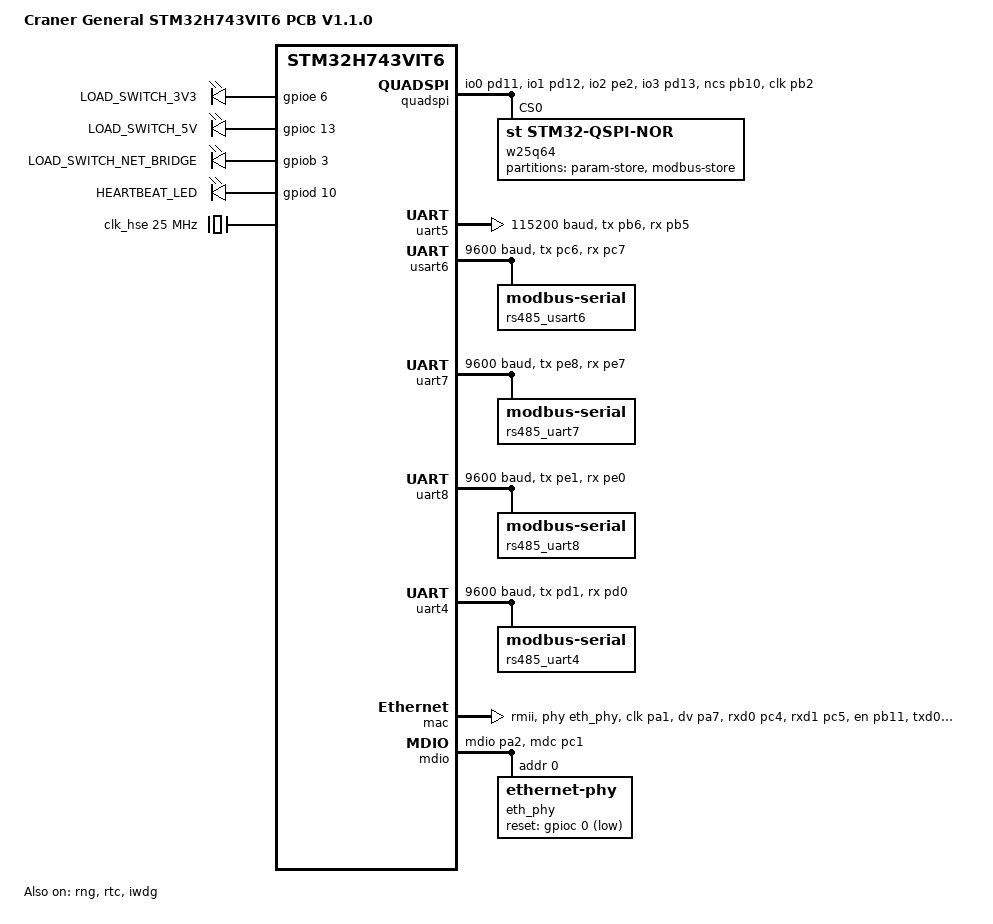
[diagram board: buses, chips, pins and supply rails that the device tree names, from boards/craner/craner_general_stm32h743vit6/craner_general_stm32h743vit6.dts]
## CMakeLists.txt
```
cmake_minimum_required(VERSION 3.20.0)

list(APPEND BOARD_ROOT ${CMAKE_CURRENT_SOURCE_DIR})

# Make module defaults effective while allowing the product's EXTRA_CONF_FILE
# to provide board/product-specific overrides (such as Broker credentials).
file(GLOB module_conf_files
	CONFIGURE_DEPENDS
	"${CMAKE_CURRENT_SOURCE_DIR}/module/*/*.conf"
)

set(CONF_FILE
	${CMAKE_CURRENT_SOURCE_DIR}/prj.conf
	${module_conf_files}
)

find_package(Zephyr REQUIRED HINTS $ENV{ZEPHYR_BASE})
project(craner_sensor_hub)

add_subdirectory(module/system_health_service)
add_subdirectory(module/network_manager_service)
add_subdirectory(module/time_manager_service)
add_subdirectory(module/ota_manager_service)
add_subdirectory(module/device_param_server)
add_subdirectory(module/device_identity_service)
add_subdirectory(module/fault_dump_service)
add_subdirectory(module/modbus_data_model)
add_subdirectory(module/modbus_tcp_server)
add_subdirectory(module/shell_mqtt_service)
add_subdirectory(module/imu_sample_service)
add_subdirectory(module/encoder_sample_service)
add_subdirectory(app/modbus_tcp)
add_subdirectory(app/power_manager)
add_subdirectory(app/system_health)
add_subdirectory(app/luffing_imu_app)
add_subdirectory(app/encoder_app)
add_subdirectory(app/anemometer_load_app)
add_subdirectory(app/log_manage_app)
add_subdirectory(app/sensor_manage_app)

target_include_directories(app PRIVATE include src app/system_health app/sensor_manage_app)

target_sources(app PRIVATE
	src/main.c
)

target_link_libraries(app PRIVATE
	system_health_service
	network_manager_service
	time_manager_service
	ota_manager_service
	device_param_server
	device_identity_service
	fault_dump_service
	modbus_data_model
	modbus_tcp_server
	shell_mqtt_service
	imu_sample_service
	encoder_sample_service
)
```

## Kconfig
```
source "Kconfig.zephyr"

rsource "module/system_health_service/Kconfig"
rsource "module/network_manager_service/Kconfig"
rsource "module/time_manager_service/Kconfig"
rsource "module/ota_manager_service/Kconfig"
rsource "module/device_param_server/Kconfig"
rsource "module/device_identity_service/Kconfig"
rsource "module/fault_dump_service/Kconfig"
rsource "module/modbus_data_model/Kconfig"
rsource "module/modbus_tcp_server/Kconfig"
rsource "module/shell_mqtt_service/Kconfig"
rsource "module/imu_sample_service/Kconfig"
rsource "module/encoder_sample_service/Kconfig"
rsource "app/luffing_imu_app/Kconfig"
rsource "app/encoder_app/Kconfig"
rsource "app/anemometer_load_app/Kconfig"

menu "Craner Encoder Hub application"

choice TOWER_TYPE
	prompt "Tower crane type"
	default TOWER_TYPE_FLAT_TOP

config TOWER_TYPE_FLAT_TOP
	bool "Flat-top tower crane"
	help
	  Flat-top tower crane with slewing, luffing and hoisting encoders.

config TOWER_TYPE_LUFFING_JIB
	bool "Luffing-jib tower crane"
	select WIT_IMU_MODBUS
	help
	  Luffing-jib tower crane with the luffing encoder replaced by a
	  WIT Modbus RTU IMU.

endchoice

config ENABLE_LOAD_ADC_CHANNEL
	bool "Enable load ADC channel application"
	default n
	help
	  Enable product-level load ADC channel sampling when the load ADC
	  channel is available. Current code uses this symbol to publish
	  the load ADC capability bit.

config MODBUS_REGISTER_LAYOUT_V2_COMPAT
	bool "Use Modbus register layout v2 compatibility"
	default n
	help
	  Move the system information block behind the data block to keep
	  the legacy v2 register address layout. Product 46 enables this
	  option, while other products keep the default v3 layout.

endmenu
```

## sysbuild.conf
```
# Build MCUboot together with the application.
SB_CONFIG_BOOTLOADER_MCUBOOT=y

# Standard MCUboot OTA layout: boot from slot0, download to slot1, then swap
# slot0 and slot1 through scratch_partition on reboot.
SB_CONFIG_MCUBOOT_MODE_SWAP_SCRATCH=y

# Use Zephyr/MCUboot default signing configuration: RSA-2048 and the
# MCUboot-provided root-rsa-2048.pem key.
```

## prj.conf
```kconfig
# Project-wide Zephyr configuration.
CONFIG_DEVICE_IDENTITY_DEFAULT_COMPANY="craner"
CONFIG_DEVICE_IDENTITY_DEFAULT_MODEL="shub"

# Basic platform and console.
CONFIG_PRINTK=y
CONFIG_SERIAL=y
CONFIG_CONSOLE=y
CONFIG_UART_CONSOLE=y
CONFIG_STDOUT_CONSOLE=y
CONFIG_UART_INTERRUPT_DRIVEN=y
CONFIG_UART_LINE_CTRL=n
CONFIG_GPIO=y
CONFIG_HWINFO=y
CONFIG_REBOOT=y
CONFIG_BOOT_BANNER=n

# Watchdog.
CONFIG_WATCHDOG=y
CONFIG_WDT_DISABLE_AT_BOOT=n

# Flash, settings, images, and persistence.
CONFIG_FLASH=y
CONFIG_FLASH_MAP=y
CONFIG_STREAM_FLASH=y
CONFIG_SETTINGS=y
CONFIG_ZMS=y
CONFIG_SETTINGS_ZMS=y
CONFIG_SETTINGS_ZMS_FORCE_MOUNT=y
CONFIG_IMG_MANAGER=y
CONFIG_MCUBOOT_IMG_MANAGER=y
CONFIG_MCUBOOT_GENERATE_CONFIRMED_IMAGE=y

# Shell.
CONFIG_SHELL=y
CONFIG_SHELL_BACKEND_SERIAL=y
CONFIG_SHELL_BACKEND_TELNET=y
CONFIG_SHELL_VT100_COMMANDS=y
CONFIG_SHELL_VT100_COLORS=y
CONFIG_SHELL_STACK_SIZE=4096

CONFIG_SHELL_PROMPT_UART="shub:~$ "
CONFIG_SHELL_PROMPT_TELNET="shub:~$ "

# MQTT Shell backend.
CONFIG_SHELL_BACKEND_MQTT=y
CONFIG_SHELL_MQTT_SERVER_ADDR="mqtt.craner.hk"
CONFIG_SHELL_MQTT_SERVER_PORT=1883
CONFIG_SHELL_MQTT_SERVER_USERNAME="hkcrctest"
CONFIG_SHELL_MQTT_SERVER_PASSWORD="crcHK3130"
# Keep MQTT Shell as a command transport only; do not route LOG_* records to it.
CONFIG_SHELL_MQTT_INIT_LOG_LEVEL_NONE=y
# Logging.
CONFIG_LOG=y
CONFIG_LOG_RUNTIME_FILTERING=y
CONFIG_LOG_RUNTIME_DEFAULT_LEVEL=3
CONFIG_LOG_CMDS=y
CONFIG_LOG_DEFAULT_LEVEL=3
CONFIG_LOG_MAX_LEVEL=4
CONFIG_LOG_RATELIMIT=y
CONFIG_LOG_RATELIMIT_INTERVAL_MS=10000
CONFIG_LOG_BACKEND_UART=n
CONFIG_SHELL_LOG_BACKEND=y
CONFIG_SHELL_BACKEND_SERIAL_LOG_LEVEL_INF=y
CONFIG_SHELL_TELNET_INIT_LOG_LEVEL_INF=y
CONFIG_LOG_MODE_DEFERRED=y
CONFIG_LOG_BUFFER_SIZE=8192
CONFIG_LOG_PROCESS_THREAD_STACK_SIZE=4096
CONFIG_LOG_TIMESTAMP_USE_REALTIME=y
CONFIG_LOG_OUTPUT_FORMAT_CUSTOM_TIMESTAMP=y

# System health service.
CONFIG_SYS_HEALTH_SERVICE=y
CONFIG_SYS_HEALTH_LED_INDICATOR_BACKEND=y
CONFIG_SYS_HEALTH_LED_SELF_TEST_MS=6000
CONFIG_SYS_HEALTH_LED_SELF_TEST_BLINK_MS=250
CONFIG_SYS_HEALTH_WATCHDOG_FEED_BACKEND=y
CONFIG_SYS_HEALTH_REBOOT_ACTION_BACKEND=y
CONFIG_SYS_HEALTH_STACK_USAGE_CHECK=y
CONFIG_SYS_HEALTH_ICMP_PROBE=y
CONFIG_SYS_HEALTH_ICMP_PROBE_EVENT_ID=2
CONFIG_SYS_HEALTH_ICMP_PROBE_TARGET_GATEWAY=y
CONFIG_SYS_HEALTH_ICMP_PROBE_STARTUP_GRACE_MS=15000
CONFIG_SYS_HEALTH_ICMP_PROBE_PERIOD_MS=2000
CONFIG_SYS_HEALTH_ICMP_PROBE_TIMEOUT_MS=1000
CONFIG_SYS_HEALTH_ICMP_PROBE_MAX_CONSECUTIVE_FAILURES=3
CONFIG_SYS_HEALTH_SCHEDULED_REBOOT=y

# Diagnostics.
CONFIG_DEBUG_COREDUMP=y
CONFIG_DEBUG_COREDUMP_BACKEND_FLASH_PARTITION=y
CONFIG_DEBUG_COREDUMP_SHELL=y
CONFIG_DEBUG_COREDUMP_MEMORY_DUMP_THREADS=y
CONFIG_DEBUG_COREDUMP_THREAD_STACK_TOP=y
CONFIG_DEBUG_COREDUMP_THREAD_STACK_TOP_LIMIT_FOR_CURRENT=2048
CONFIG_DEBUG_COREDUMP_THREAD_STACK_TOP_LIMIT=1024
CONFIG_DEBUG_COREDUMP_FLASH_CHUNK_SIZE=64
CONFIG_FAULT_DUMP_SERVICE=y
CONFIG_FAULT_DUMP_SERVICE_FATAL_RECORD=y
CONFIG_FAULT_DUMP_SERVICE_FATAL_HANDLER=y
CONFIG_FAULT_DUMP_SERVICE_RESET_REASON=y
CONFIG_FAULT_DUMP_SERVICE_RESET_REASON_STM32H7XX=y
CONFIG_FAULT_DUMP_SERVICE_NATIVE_COREDUMP=y
CONFIG_FAULT_DUMP_SERVICE_NATIVE_COREDUMP_EXPORT=y
CONFIG_FAULT_DUMP_SERVICE_EXPORT_CHUNK_BYTES=128
CONFIG_FAULT_DUMP_SERVICE_SHELL=y
CONFIG_FAULT_DUMP_SERVICE_REMINDER=y

# Management encoding and OTA transport.
CONFIG_ZCBOR=y
CONFIG_MCUMGR=y
CONFIG_MCUMGR_GRP_IMG=y
CONFIG_MCUMGR_GRP_IMG_VERBOSE_ERR=y
CONFIG_MCUMGR_GRP_OS=y
CONFIG_MCUMGR_TRANSPORT_UDP=y
CONFIG_MCUMGR_TRANSPORT_UDP_IPV4=y
CONFIG_MCUMGR_TRANSPORT_UDP_IPV6=n
CONFIG_MCUMGR_TRANSPORT_UDP_PORT=1337
CONFIG_MCUMGR_TRANSPORT_UDP_MTU=1500

# OTA manager service.
CONFIG_OTA_MANAGER_SERVICE=y
CONFIG_OTA_MANAGER_SERVICE_TEST_TIMEOUT_S=3600

# Storage and identity services.
CONFIG_DEVICE_PARAM_SERVER=y
CONFIG_DEVICE_IDENTITY_USE_PARAM_SERVER=y
CONFIG_DEVICE_PARAM_SERVER_MAX_PARAMS=16
CONFIG_DEVICE_PARAM_SERVER_MAX_VALUE_LEN=96
CONFIG_DEVICE_IDENTITY_SERVICE=y
CONFIG_DEVICE_IDENTITY_APPLY_HOSTNAME=y
CONFIG_DEVICE_IDENTITY_APPLY_ETHERNET_MAC=y
CONFIG_DEVICE_IDENTITY_SHELL=y

# Real-time clock and battery-backed RAM
CONFIG_RTC=y
CONFIG_RTC_STM32=y
CONFIG_BBRAM=y
CONFIG_BBRAM_STM32=y

# Time manager service.
CONFIG_TIME_MANAGER_SERVICE=y
CONFIG_TIME_SYNC_ZEPHYR_REALTIME=y
CONFIG_TIME_SOURCE_NTP=y
CONFIG_TIME_NTP_QUERY_TIMEOUT_MS=5000
CONFIG_TIME_SOURCE_NTP_PERIODIC_SYNC=n
CONFIG_TIME_SOURCE_RTC=y
CONFIG_TIME_RTC_BACKEND_INSIDE_RTC=y
CONFIG_TIME_RTC_WRITE_ON_NTP_SYNC=y
CONFIG_TIME_RTC_TRUST_STORE=y
CONFIG_TIME_RTC_MIN_VALID_UNIX_TIME=1767225600
CONFIG_TIME_LOCAL_FORMAT=y

# Network protocol stack.
CONFIG_NETWORKING=y
CONFIG_NET_L2_ETHERNET=y
CONFIG_ETH_STM32_HAL=y
CONFIG_PHY_GENERIC_MII=y
CONFIG_NET_IPV4=y
CONFIG_NET_IPV6=n
CONFIG_NET_ARP=y
CONFIG_NET_UDP=y
CONFIG_NET_TCP=y
CONFIG_NET_SOCKETS=y
CONFIG_NET_DHCPV4=y
CONFIG_DNS_RESOLVER=y
CONFIG_DNS_SERVER_IP_ADDRESSES=n
CONFIG_NET_HOSTNAME_ENABLE=y
CONFIG_NET_HOSTNAME_DYNAMIC=y
CONFIG_NET_HOSTNAME_MAX_LEN=63
CONFIG_NET_MGMT=y
CONFIG_NET_MGMT_EVENT=y
CONFIG_NET_SHELL=y
CONFIG_NET_STATISTICS=y
CONFIG_NET_STATISTICS_ETHERNET=y
CONFIG_NET_BUF_POOL_USAGE=y
CONFIG_ENTROPY_GENERATOR=y

# Bound DNS/TCP failure time during weak-network reconnect attempts.
CONFIG_NET_SOCKETS_CONNECT_TIMEOUT=5000
CONFIG_NET_SOCKETS_DNS_TIMEOUT=5000
CONFIG_NET_SOCKETS_DNS_BACKOFF_INTERVAL=2000

# Network buffers, contexts, and thread stacks.
CONFIG_NET_BUF=y
CONFIG_NET_PKT_RX_COUNT=48
CONFIG_NET_PKT_TX_COUNT=32
CONFIG_NET_BUF_RX_COUNT=96
CONFIG_NET_BUF_TX_COUNT=64
CONFIG_NET_BUF_DATA_SIZE=1536
CONFIG_NET_MAX_CONTEXTS=24
CONFIG_NET_MAX_CONN=24
CONFIG_ZVFS_POLL_MAX=16
CONFIG_SYSTEM_WORKQUEUE_STACK_SIZE=4096
CONFIG_NET_MGMT_EVENT_STACK_SIZE=4096
CONFIG_NET_TX_STACK_SIZE=6144
CONFIG_NET_RX_STACK_SIZE=6144
CONFIG_NET_TCP_WORKQ_STACK_SIZE=4096
CONFIG_ETH_STM32_HAL_RX_THREAD_STACK_SIZE=3072
CONFIG_MAIN_STACK_SIZE=2048

# Network address configuration backend.
CONFIG_NET_CONFIG_SETTINGS=y
CONFIG_NET_CONFIG_AUTO_INIT=n
CONFIG_NET_CONFIG_INIT_TIMEOUT=30

# Time hardware and protocol dependencies.
CONFIG_SNTP=y
CONFIG_TIME_NTP_SERVER="pool.ntp.org"
CONFIG_TIME_NTP_FALLBACK_SERVER_1="ntp.aliyun.com"
CONFIG_TIME_NTP_FALLBACK_SERVER_2="cn.pool.ntp.org"
CONFIG_TIME_NTP_FALLBACK_SERVER_3="hk.pool.ntp.org"
CONFIG_TIME_LOCAL_TIMEZONE_OFFSET_MINUTES=480

# Network manager service.
CONFIG_NETWORK_MANAGER_SERVICE=y
CONFIG_NETWORK_MANAGER_SERVICE_EVENT_CALLBACKS=y
CONFIG_NETWORK_MANAGER_SERVICE_STATS=y
CONFIG_NETWORK_MANAGER_STARTUP_DELAY_MS=3000
CONFIG_NETWORK_MANAGER_IF_UP_RETRY_PERIOD_MS=1000
CONFIG_NETWORK_MANAGER_IF_UP_MAX_RETRIES=0
CONFIG_NETWORK_DHCP_RESCUE_TIMEOUT_MS=60000

# Modbus core and RAW serial bridge.
CONFIG_MODBUS=y
CONFIG_MODBUS_LOG_LEVEL_INF=y
CONFIG_MODBUS_ROLE_CLIENT_SERVER=y
CONFIG_MODBUS_NONCOMPLIANT_SERIAL_MODE=y
CONFIG_MODBUS_RAW_ADU=y
CONFIG_MODBUS_NUMOF_RAW_ADU=1
CONFIG_CRC=y
CONFIG_POSIX_API=y

# Modbus data model and TCP services.
CONFIG_MODBUS_DATA_MODEL=y
CONFIG_MODBUS_DATA_MODEL_STORE=y
CONFIG_MODBUS_DATA_MODEL_STORE_FLASH=y
CONFIG_MODBUS_DATA_MODEL_STORE_DEFAULT_SAVE_DELAY_MS=3000
CONFIG_MODBUS_DATA_MODEL_SHELL=y
CONFIG_MODBUS_TCP_SERVER=y
CONFIG_MODBUS_TCP_MAX_CLIENTS=4
CONFIG_MODBUS_TCP_SERVER_PORT=502
CONFIG_MODBUS_TCP_SERVER_RAW_IFACE_NAME="RAW_0"
CONFIG_MODBUS_TCP_CLIENT_IDLE_TIMEOUT_MS=3000
CONFIG_MODBUS_TCP_RECV_TIMEOUT_MS=1000
CONFIG_MODBUS_TCP_SEND_TIMEOUT_MS=1000
CONFIG_MODBUS_TCP_RAW_RESPONSE_TIMEOUT_MS=1000
CONFIG_MODBUS_TCP_CLIENT_MAX_CONSECUTIVE_ERRORS=3
CONFIG_MODBUS_TCP_POLL_TIMEOUT_MS=1000
CONFIG_MODBUS_TCP_SERVER_STATS=y
CONFIG_MODBUS_TCP_SERVER_SHELL=y
CONFIG_MODBUS_TCP_SERVER_LOG_LEVEL_INF=y

# Sensor sampling services.
CONFIG_ENCODER_SAMPLE_SERVICE=y
CONFIG_IMU_SAMPLE_SERVICE=y
CONFIG_ANEMOMETER_THREAD_STACK_SIZE=3072
```

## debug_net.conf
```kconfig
# Optional network diagnostics overlay.
#
# Usage:
# west build -b craner_general_stm32h743vit6 . -d build/debug_net -- -DEXTRA_CONF_FILE=debug_net.conf

CONFIG_NET_SHELL=y
CONFIG_NET_STATISTICS=y
CONFIG_NET_STATISTICS_ETHERNET=y

CONFIG_NET_MAX_CONN=16
CONFIG_NET_MAX_CONTEXTS=16
CONFIG_NET_PKT_RX_COUNT=32
CONFIG_NET_PKT_TX_COUNT=32
CONFIG_NET_BUF_RX_COUNT=64
CONFIG_NET_BUF_TX_COUNT=64

CONFIG_NET_TCP_WORKQ_STACK_SIZE=2048
CONFIG_NET_SOCKETS_SERVICE_STACK_SIZE=2048

# Enable these only when you need verbose TCP logs.
CONFIG_NET_LOG=y
CONFIG_NET_TCP_LOG_LEVEL_DBG=y
CONFIG_NET_CONTEXT_LOG_LEVEL_DBG=y
```

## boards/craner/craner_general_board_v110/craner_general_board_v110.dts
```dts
/*
 * SPDX-License-Identifier: Apache-2.0
 */

/dts-v1/;
#include <st/h7/stm32h743Xi.dtsi>
#include <st/h7/stm32h743vitx-pinctrl.dtsi>

/ {
	model = "Craner General Board V1.10";
	compatible = "craner,craner-general-board-v110";

	chosen {
		zephyr,sram = &sram0;
		zephyr,flash = &flash0;
		zephyr,console = &uart5;
		zephyr,shell-uart = &uart5;
	};
};

&clk_hse {
	clock-frequency = <DT_FREQ_M(25)>;
	status = "okay";
};

&pll {
	div-m = <5>;
	mul-n = <96>;
	div-p = <2>;
	div-q = <10>;
	div-r = <2>;
	clocks = <&clk_hse>;
	status = "okay";
};

&rcc {
	clocks = <&pll>;
	clock-frequency = <DT_FREQ_M(240)>;
	d1cpre = <1>;
	hpre = <2>;
	d1ppre = <1>;
	d2ppre1 = <1>;
	d2ppre2 = <1>;
	d3ppre = <1>;
};

&pwr {
	power-supply = "ldo";
};

&uart5 {
	pinctrl-0 = <&uart5_tx_pb6 &uart5_rx_pb5>;
	pinctrl-names = "default";
	current-speed = <115200>;
	status = "okay";
};

&usart6 {
	pinctrl-0 = <&usart6_tx_pc6 &usart6_rx_pc7>;
	pinctrl-names = "default";
	current-speed = <115200>;
	status = "okay";

	modbus0 {
		compatible = "zephyr,modbus-serial";
		status = "okay";
	};
};
```

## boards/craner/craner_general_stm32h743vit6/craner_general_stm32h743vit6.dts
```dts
/*
 * SPDX-License-Identifier: Apache-2.0
 */

/dts-v1/;
#include <st/h7/stm32h743Xi.dtsi>
#include <st/h7/stm32h743vitx-pinctrl.dtsi>
#include <zephyr/dt-bindings/gpio/gpio.h>

/ {
	model = "Craner General STM32H743VIT6 PCB V1.1.0";
	compatible = "craner,craner-general-stm32h743vit6";

	chosen {
		zephyr,sram = &sram0;
		zephyr,flash = &flash0;
		zephyr,code-partition = &slot0_partition;
		zephyr,settings-partition = &param_store_partition;
		zephyr,console = &uart5;
		zephyr,shell-uart = &uart5;
	};

	aliases {
		load-switch-3v3 = &load_switch_3v3;
		load-switch-5v = &load_switch_5v;
		load-switch-net-bridge = &load_switch_net_bridge;
		rs485-usart6 = &rs485_usart6;
		rs485-uart7 = &rs485_uart7;
		rs485-uart8 = &rs485_uart8;
		rs485-uart4 = &rs485_uart4;
		heartbeat-led = &heartbeat_led;
		watchdog0 = &iwdg;
	};

	load_switches {
		compatible = "gpio-leds";

		load_switch_3v3: load-switch-3v3 {
			gpios = <&gpioe 6 GPIO_ACTIVE_HIGH>;
			label = "LOAD_SWITCH_3V3";
		};

		load_switch_5v: load-switch-5v {
			gpios = <&gpioc 13 GPIO_ACTIVE_HIGH>;
			label = "LOAD_SWITCH_5V";
		};

		load_switch_net_bridge: load-switch-net-bridge {
			gpios = <&gpiob 3 GPIO_ACTIVE_HIGH>;
			label = "LOAD_SWITCH_NET_BRIDGE";
		};
	};

	leds {
		compatible = "gpio-leds";

		heartbeat_led: heartbeat_led {
			gpios = <&gpiod 10 GPIO_ACTIVE_HIGH>;
			label = "HEARTBEAT_LED";
		};
	};
};

&flash0 {
	partitions {
		compatible = "fixed-partitions";
		#address-cells = <1>;
		#size-cells = <1>;

		boot_partition: partition@0 {
			label = "mcuboot";
			reg = <0x00000000 0x00020000>;
		};

		slot0_partition: partition@20000 {
			label = "image-0";
			reg = <0x00020000 0x000c0000>;
		};

		slot1_partition: partition@e0000 {
			label = "image-1";
			reg = <0x000e0000 0x000c0000>;
		};

		scratch_partition: partition@1a0000 {
			label = "image-scratch";
			reg = <0x001a0000 0x00020000>;
		};

		coredump_partition: partition@1c0000 {
			label = "coredump-partition";
			reg = <0x001c0000 0x00020000>;
		};

		app_storage_partition: partition@1e0000 {
			label = "app-storage";
			reg = <0x001e0000 0x00020000>;
		};
	};
};

&quadspi {
	pinctrl-0 = <&quadspi_bk1_io0_pd11
		     &quadspi_bk1_io1_pd12
		     &quadspi_bk1_io2_pe2
		     &quadspi_bk1_io3_pd13
		     &quadspi_bk1_ncs_pb10
		     &quadspi_clk_pb2>;
	pinctrl-names = "default";
	status = "okay";

	w25q64: qspi-nor-flash@0 {
		compatible = "st,stm32-qspi-nor";
		reg = <0>;
		size = <DT_SIZE_M(64)>;
		qspi-max-frequency = <40000000>;
		spi-bus-width = <4>;
		writeoc = "PP_1_1_4";
		status = "okay";

		partitions {
			compatible = "fixed-partitions";
			#address-cells = <1>;
			#size-cells = <1>;

			storage_partition: param_store_partition: partition@0 {
				label = "param-store";
				reg = <0x00000000 0x00020000>;
			};

			modbus_store_partition: partition@20000 {
				label = "modbus-store";
				reg = <0x00020000 0x00020000>;
			};
		};
	};
};

&clk_hse {
	clock-frequency = <DT_FREQ_M(25)>;
	status = "okay";
};

&clk_hsi48 {
	status = "okay";
};

&clk_lse {
	status = "okay";
};

&pll {
	div-m = <5>;
	mul-n = <96>;
	div-p = <2>;
	div-q = <10>;
	div-r = <2>;
	clocks = <&clk_hse>;
	status = "okay";
};

&rcc {
	clocks = <&pll>;
	clock-frequency = <DT_FREQ_M(240)>;
	d1cpre = <1>;
	hpre = <2>;
	d1ppre = <1>;
	d2ppre1 = <1>;
	d2ppre2 = <1>;
	d3ppre = <1>;
};

&pwr {
	power-supply = "ldo";
};

&rng {
	status = "okay";
};

&rtc {
	clocks = <&rcc STM32_CLOCK(APB4, 16)>,
		 <&rcc STM32_SRC_LSE RTC_SEL(1)>;
	status = "okay";
};

&bbram {
	status = "okay";
};

&iwdg {
	status = "okay";
};

&uart5 {
	pinctrl-0 = <&uart5_tx_pb6 &uart5_rx_pb5>;
	pinctrl-names = "default";
	current-speed = <115200>;
	status = "okay";
};

&usart6 {
	pinctrl-0 = <&usart6_tx_pc6 &usart6_rx_pc7>;
	pinctrl-names = "default";
	current-speed = <9600>;
	status = "okay";

	rs485_usart6: rs485-usart6 {
		compatible = "zephyr,modbus-serial";
		status = "okay";
	};
};

&uart7 {
	pinctrl-0 = <&uart7_tx_pe8 &uart7_rx_pe7>;
	pinctrl-names = "default";
	current-speed = <9600>;
	status = "okay";

	rs485_uart7: rs485-uart7 {
		compatible = "zephyr,modbus-serial";
		status = "okay";
	};
};

&uart8 {
	pinctrl-0 = <&uart8_tx_pe1 &uart8_rx_pe0>;
	pinctrl-names = "default";
	current-speed = <9600>;
	status = "okay";

	rs485_uart8: rs485-uart8 {
		compatible = "zephyr,modbus-serial";
		status = "okay";
	};
};

&uart4 {
	pinctrl-0 = <&uart4_tx_pd1 &uart4_rx_pd0>;
	pinctrl-names = "default";
	current-speed = <9600>;
	status = "okay";

	rs485_uart4: rs485-uart4 {
		compatible = "zephyr,modbus-serial";
		status = "okay";
	};
};

&mac {
	pinctrl-0 = <&eth_ref_clk_pa1
		     &eth_crs_dv_pa7
		     &eth_rxd0_pc4
		     &eth_rxd1_pc5
		     &eth_tx_en_pb11
		     &eth_txd0_pb12
		     &eth_txd1_pb13>;
	pinctrl-names = "default";
	local-mac-address = [02 00 00 00 01 32];
	phy-connection-type = "rmii";
	phy-handle = <&eth_phy>;
	status = "okay";
};

&mdio {
	pinctrl-0 = <&eth_mdio_pa2 &eth_mdc_pc1>;
	pinctrl-names = "default";
	status = "okay";

	eth_phy: ethernet-phy@0 {
		compatible = "ethernet-phy";
		reg = <0x00>;
		reset-gpios = <&gpioc 0 GPIO_ACTIVE_LOW>;
		reset-assert-duration-us = <10000>;
		reset-deassertion-timeout-ms = <100>;
	};
};
```

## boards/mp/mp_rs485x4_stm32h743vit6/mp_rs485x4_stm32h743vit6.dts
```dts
/*
 * SPDX-License-Identifier: Apache-2.0
 */

/dts-v1/;
#include <st/h7/stm32h743Xi.dtsi>
#include <st/h7/stm32h743vitx-pinctrl.dtsi>
#include <zephyr/dt-bindings/gpio/gpio.h>

/ {
	model = "MP RS485x4 STM32H743VIT6 PCB V1.2.0";
	compatible = "mp,mp-rs485x4-stm32h743vit6";

	chosen {
		zephyr,sram = &sram0;
		zephyr,flash = &flash0;
		zephyr,code-partition = &slot0_partition;
		zephyr,console = &usart1;
		zephyr,shell-uart = &usart1;
	};

	aliases {
		load-switch-3v3 = &load_switch_3v3;
		load-switch-5v = &load_switch_5v;
		load-switch-net-bridge = &load_switch_net_bridge;
		rs485-usart6 = &rs485_usart6;
		rs485-uart7 = &rs485_uart7;
		rs485-uart8 = &rs485_uart8;
		rs485-uart4 = &rs485_uart4;
		heartbeat-led = &heartbeat_led;
		watchdog0 = &iwdg;
	};

	load_switches {
		compatible = "gpio-leds";

		load_switch_3v3: load-switch-3v3 {
			gpios = <&gpioe 6 GPIO_ACTIVE_HIGH>;
			label = "LOAD_SWITCH_3V3";
		};

		load_switch_5v: load-switch-5v {
			gpios = <&gpioc 13 GPIO_ACTIVE_HIGH>;
			label = "LOAD_SWITCH_5V";
		};

		load_switch_net_bridge: load-switch-net-bridge {
			gpios = <&gpiob 3 GPIO_ACTIVE_HIGH>;
			label = "LOAD_SWITCH_NET_BRIDGE";
		};
	};

	leds {
		compatible = "gpio-leds";

		heartbeat_led: heartbeat_led {
			gpios = <&gpiod 10 GPIO_ACTIVE_HIGH>;
			label = "HEARTBEAT_LED";
		};
	};
};

&flash0 {
	partitions {
		compatible = "fixed-partitions";
		#address-cells = <1>;
		#size-cells = <1>;

		boot_partition: partition@0 {
			label = "mcuboot";
			reg = <0x00000000 0x00020000>;
		};

		slot0_partition: partition@20000 {
			label = "image-0";
			reg = <0x00020000 0x000c0000>;
		};

		slot1_partition: partition@e0000 {
			label = "image-1";
			reg = <0x000e0000 0x000c0000>;
		};

		scratch_partition: partition@1a0000 {
			label = "image-scratch";
			reg = <0x001a0000 0x00020000>;
		};

		app_storage_partition: partition@1c0000 {
			label = "app-storage";
			reg = <0x001c0000 0x00040000>;
		};
	};
};

&clk_hse {
	clock-frequency = <DT_FREQ_M(25)>;
	status = "okay";
};

&clk_hsi48 {
	status = "okay";
};

&pll {
	div-m = <5>;
	mul-n = <96>;
	div-p = <2>;
	div-q = <10>;
	div-r = <2>;
	clocks = <&clk_hse>;
	status = "okay";
};

&rcc {
	clocks = <&pll>;
	clock-frequency = <DT_FREQ_M(240)>;
	d1cpre = <1>;
	hpre = <2>;
	d1ppre = <1>;
	d2ppre1 = <1>;
	d2ppre2 = <1>;
	d3ppre = <1>;
};

&pwr {
	power-supply = "ldo";
};

&rng {
	status = "okay";
};

&iwdg {
	status = "okay";
};

&usart1 {
	pinctrl-0 = <&usart1_tx_pa9 &usart1_rx_pa10>;
	pinctrl-names = "default";
	current-speed = <115200>;
	status = "okay";
};

&usart6 {
	pinctrl-0 = <&usart6_tx_pc6 &usart6_rx_pc7>;
	pinctrl-names = "default";
	current-speed = <9600>;
	status = "okay";

	rs485_usart6: rs485-usart6 {
		compatible = "zephyr,modbus-serial";
		status = "okay";
	};
};

&uart7 {
	pinctrl-0 = <&uart7_tx_pe8 &uart7_rx_pe7>;
	pinctrl-names = "default";
	current-speed = <9600>;
	status = "okay";

	rs485_uart7: rs485-uart7 {
		compatible = "zephyr,modbus-serial";
		status = "okay";
	};
};

&uart8 {
	pinctrl-0 = <&uart8_tx_pe1 &uart8_rx_pe0>;
	pinctrl-names = "default";
	current-speed = <9600>;
	status = "okay";

	rs485_uart8: rs485-uart8 {
		compatible = "zephyr,modbus-serial";
		status = "okay";
	};
};

&uart4 {
	pinctrl-0 = <&uart4_tx_pd1 &uart4_rx_pd0>;
	pinctrl-names = "default";
	current-speed = <9600>;
	status = "okay";

	rs485_uart4: rs485-uart4 {
		compatible = "zephyr,modbus-serial";
		status = "okay";
	};
};

&mac {
	pinctrl-0 = <&eth_ref_clk_pa1
		     &eth_crs_dv_pa7
		     &eth_rxd0_pc4
		     &eth_rxd1_pc5
		     &eth_tx_en_pb11
		     &eth_txd0_pb12
		     &eth_txd1_pb13>;
	pinctrl-names = "default";
	local-mac-address = [02 00 00 00 02 32];
	phy-connection-type = "rmii";
	phy-handle = <&eth_phy>;
	status = "okay";
};

&mdio {
	pinctrl-0 = <&eth_mdio_pa2 &eth_mdc_pc1>;
	pinctrl-names = "default";
	status = "okay";

	eth_phy: ethernet-phy@0 {
		compatible = "ethernet-phy";
		reg = <0x00>;
		reset-gpios = <&gpioc 0 GPIO_ACTIVE_LOW>;
		reset-assert-duration-us = <10000>;
		reset-deassertion-timeout-ms = <100>;
	};
};
```

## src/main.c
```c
#include <zephyr/kernel.h>

int main(void)
{
	while (1) {
		k_sleep(K_SECONDS(1));
	}

	return 0;
}
```

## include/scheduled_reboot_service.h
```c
#ifndef SCHEDULED_REBOOT_SERVICE_H
#define SCHEDULED_REBOOT_SERVICE_H

#include <stdbool.h>
#include <stddef.h>
#include <stdint.h>

enum scheduled_reboot_reason {
	SCHEDULED_REBOOT_REASON_NONE,
	SCHEDULED_REBOOT_REASON_UNRELIABLE_TIME_UPTIME_LIMIT,
	SCHEDULED_REBOOT_REASON_RELIABLE_TIME_DAILY_WINDOW,
};

struct scheduled_reboot_status {
	bool initialized;
	bool time_reliable;
	bool in_reliable_window;
	bool reboot_pending;
	enum scheduled_reboot_reason pending_reason;
	uint32_t last_check_uptime_ms;
	uint32_t unreliable_start_uptime_ms;
	uint32_t unreliable_elapsed_ms;
	uint32_t unreliable_limit_ms;
	uint32_t min_uptime_ms;
	int32_t timezone_offset_minutes;
	uint8_t local_hour;
	uint8_t local_minute;
	uint8_t local_window_minutes;
	int64_t unix_time_s;
	int local_year;
	int local_yday;
	int local_hour_now;
	int local_minute_now;
	int last_reliable_reboot_day_key;
	int last_error;
};

void scheduled_reboot_service_check(uint32_t now_ms);
void scheduled_reboot_service_get_status(struct scheduled_reboot_status *status);
const char *scheduled_reboot_reason_name(enum scheduled_reboot_reason reason);
int scheduled_reboot_service_format_status(char *buf, size_t len);

#endif /* SCHEDULED_REBOOT_SERVICE_H */
```

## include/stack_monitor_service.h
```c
#ifndef STACK_MONITOR_SERVICE_H
#define STACK_MONITOR_SERVICE_H

#include <stdbool.h>
#include <stddef.h>
#include <stdint.h>

#define STACK_MONITOR_THREAD_NAME_LEN 32U

struct stack_monitor_thread_info {
	char name[STACK_MONITOR_THREAD_NAME_LEN];
	size_t stack_size;
	size_t unused;
	size_t used;
	uint8_t usage_percent;
	int error;
};

struct stack_monitor_status {
	bool initialized;
	bool warning;
	uint32_t scan_count;
	uint32_t warn_count;
	uint32_t last_scan_uptime_ms;
	size_t thread_count;
	struct stack_monitor_thread_info worst_current;
	struct stack_monitor_thread_info worst_ever;
	int last_error;
};

typedef void (*stack_monitor_thread_cb_t)(
	const struct stack_monitor_thread_info *info, void *user_data);

void stack_monitor_service_scan(uint32_t now_ms, bool log_warning);
void stack_monitor_service_get_status(struct stack_monitor_status *status);
int stack_monitor_service_foreach(stack_monitor_thread_cb_t cb,
				  void *user_data);
int stack_monitor_service_format_status(char *buf, size_t len);

#endif /* STACK_MONITOR_SERVICE_H */
```

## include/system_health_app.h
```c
#ifndef SYSTEM_HEALTH_APP_H
#define SYSTEM_HEALTH_APP_H

#include <stdbool.h>
#include <stdint.h>

#include "system_health_service.h"

enum system_health_event {
	SYSTEM_HEALTH_NONE = 0,
	SYSTEM_HEALTH_SYSTEM_OFFLINE =
		SYS_HEALTH_EVENT_SYSTEM_PROTECT,
	SYSTEM_HEALTH_ETHERNET = 2,
	SYSTEM_HEALTH_READ_SLEWING_ENCODER = 100,
	SYSTEM_HEALTH_READ_LUFFING_ENCODER,
	SYSTEM_HEALTH_READ_HOISTING_ENCODER,
	SYSTEM_HEALTH_READ_ANEMOMETER,
};

static inline void system_health_update_event(enum system_health_event event)
{
	sys_health_event_report((uint16_t)event);
}

static inline void system_health_enable_event(enum system_health_event event)
{
	sys_health_event_enable((uint16_t)event);
}

static inline void system_health_disable_event(enum system_health_event event)
{
	sys_health_event_disable((uint16_t)event);
}

static inline bool system_health_is_event_offline(enum system_health_event event)
{
	return sys_health_event_is_offline((uint16_t)event);
}

#endif /* SYSTEM_HEALTH_APP_H */
```

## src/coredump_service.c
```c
#include "coredump_service.h"

#include <errno.h>
#include <stdint.h>
#include <string.h>

#include <zephyr/debug/coredump.h>
#include <zephyr/kernel.h>
#include <zephyr/sys/util.h>

static struct coredump_service_status service_status;

static int hex_nibble_to_char(uint8_t nibble, char *ch)
{
	if (ch == NULL) {
		return -EINVAL;
	}

	if (nibble < 10U) {
		*ch = (char)('0' + nibble);
		return 0;
	}

	if (nibble < 16U) {
		*ch = (char)('a' + nibble - 10U);
		return 0;
	}

	return -EINVAL;
}

int coredump_service_refresh(void)
{
	int rc;

	service_status.backend_error =
		coredump_query(COREDUMP_QUERY_GET_ERROR, NULL);

	rc = coredump_query(COREDUMP_QUERY_HAS_STORED_DUMP, NULL);
	if (rc < 0) {
		service_status.stored_dump_found = false;
		service_status.stored_dump_valid = false;
		service_status.stored_dump_size = 0U;
		service_status.verify_result = rc;
		service_status.last_error = rc;
		return rc;
	}

	service_status.stored_dump_found = (rc == 1);
	service_status.stored_dump_size = 0U;
	service_status.verify_result = 0;
	service_status.stored_dump_valid = false;

	if (service_status.stored_dump_found) {
		rc = coredump_query(COREDUMP_QUERY_GET_STORED_DUMP_SIZE, NULL);
		if (rc < 0) {
			service_status.last_error = rc;
			return rc;
		}

		service_status.stored_dump_size = (size_t)rc;

		rc = coredump_cmd(COREDUMP_CMD_VERIFY_STORED_DUMP, NULL);
		service_status.verify_result = rc;
		if (rc < 0) {
			service_status.last_error = rc;
			return rc;
		}

		service_status.stored_dump_valid = (rc == 1);
	}

	service_status.last_error = 0;
	return 0;
}

int coredump_service_init(void)
{
	int rc;

	memset(&service_status, 0, sizeof(service_status));
	service_status.initialized = true;

	rc = coredump_service_refresh();
	if (rc != 0) {
		return rc;
	}

	return 0;
}

void coredump_service_get_status(struct coredump_service_status *status)
{
	if (status == NULL) {
		return;
	}

	*status = service_status;
}

int coredump_service_clear_stored_dump(void)
{
	int rc;
	int clear_rc;

	rc = coredump_cmd(COREDUMP_CMD_ERASE_STORED_DUMP, NULL);
	if (rc != 0) {
		service_status.last_error = rc;
		return rc;
	}

	clear_rc = coredump_cmd(COREDUMP_CMD_CLEAR_ERROR, NULL);
	if (clear_rc != 0 && clear_rc != -ENOTSUP) {
		service_status.last_error = clear_rc;
		return clear_rc;
	}

	return coredump_service_refresh();
}

int coredump_service_format_report(char *buf, size_t len)
{
	struct coredump_service_status status;
	int written;
	int rc;

	if (buf == NULL || len == 0U) {
		return -EINVAL;
	}

	rc = coredump_service_refresh();
	coredump_service_get_status(&status);
	if (rc != 0) {
		return rc;
	}

	written = snprintk(buf, len,
			   "{\"type\":\"coredump\","
			   "\"found\":%s,\"valid\":%s,"
			   "\"size\":%u,\"backend_error\":%d,"
			   "\"verify_result\":%d,\"last_error\":%d,"
			   "\"uptime_ms\":%lld}",
			   status.stored_dump_found ? "true" : "false",
			   status.stored_dump_valid ? "true" : "false",
			   (uint32_t)status.stored_dump_size,
			   status.backend_error, status.verify_result,
			   status.last_error, (long long)k_uptime_get());
	if (written < 0) {
		return written;
	}

	if ((size_t)written >= len) {
		return -EMSGSIZE;
	}

	return 0;
}

int coredump_service_read_stored_dump(off_t offset, uint8_t *buf, size_t len)
{
	struct coredump_cmd_copy_arg copy = {
		.offset = offset,
		.buffer = buf,
		.length = len,
	};

	if (buf == NULL || len == 0U) {
		return -EINVAL;
	}

	return coredump_cmd(COREDUMP_CMD_COPY_STORED_DUMP, &copy);
}

int coredump_service_format_hex_line(const uint8_t *data, size_t data_len,
				     char *buf, size_t buf_len)
{
	size_t out_len = strlen("#CD:") + (data_len * 2U);
	size_t pos = 0U;
	int rc;

	if (data == NULL || buf == NULL) {
		return -EINVAL;
	}

	if (buf_len <= out_len) {
		return -EMSGSIZE;
	}

	memcpy(buf, "#CD:", strlen("#CD:"));
	pos = strlen("#CD:");

	for (size_t i = 0U; i < data_len; i++) {
		rc = hex_nibble_to_char(data[i] >> 4, &buf[pos]);
		if (rc != 0) {
			return rc;
		}
		pos++;

		rc = hex_nibble_to_char(data[i] & 0x0fU, &buf[pos]);
		if (rc != 0) {
			return rc;
		}
		pos++;
	}

	buf[pos] = '\0';
	return 0;
}
```

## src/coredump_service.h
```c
#ifndef COREDUMP_SERVICE_H_
#define COREDUMP_SERVICE_H_

#include <stdbool.h>
#include <stddef.h>
#include <stdint.h>
#include <sys/types.h>

struct coredump_service_status {
	bool initialized;
	bool stored_dump_found;
	bool stored_dump_valid;
	size_t stored_dump_size;
	int backend_error;
	int verify_result;
	int last_error;
};

int coredump_service_init(void);
void coredump_service_get_status(struct coredump_service_status *status);
int coredump_service_refresh(void);
int coredump_service_clear_stored_dump(void);
int coredump_service_format_report(char *buf, size_t len);
int coredump_service_read_stored_dump(off_t offset, uint8_t *buf, size_t len);
int coredump_service_format_hex_line(const uint8_t *data, size_t data_len,
				     char *buf, size_t buf_len);

#endif /* COREDUMP_SERVICE_H_ */
```

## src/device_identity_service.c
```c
#include "device_identity_service.h"
#ifdef CONFIG_ENABLE_DEVICE_PARAM_STORE
#include "device_param_store.h"
#endif

#include <errno.h>
#include <stdbool.h>
#include <stddef.h>
#include <string.h>

#include <zephyr/device.h>
#include <zephyr/drivers/hwinfo.h>
#include <zephyr/kernel.h>
#include <zephyr/logging/log.h>
#include <zephyr/net/ethernet.h>
#include <zephyr/net/hostname.h>
#include <zephyr/net/net_if.h>
#include <zephyr/sys/util.h>

LOG_MODULE_REGISTER(device_identity_service, CONFIG_LOG_DEFAULT_LEVEL);

#define DEVICE_IDENTITY_COMPANY "craner"
#define DEVICE_IDENTITY_DEFAULT_PROJECT "project"
#define DEVICE_IDENTITY_DEFAULT_DEVICE_TYPE "type"
#define STM32_UID_MAX_SIZE 12
#define FNV1A64_OFFSET_BASIS 0xcbf29ce484222325ULL
#define FNV1A64_PRIME 0x100000001b3ULL

static struct device_identity identity;
static bool identity_ready;

static uint64_t fnv1a64(const uint8_t *data, size_t len)
{
	uint64_t hash = FNV1A64_OFFSET_BASIS;

	for (size_t i = 0; i < len; i++) {
		hash ^= data[i];
		hash *= FNV1A64_PRIME;
	}

	return hash;
}

static void short_uid_from_hash(uint64_t hash, uint8_t short_uid[DEVICE_IDENTITY_SHORT_UID_SIZE])
{
	for (size_t i = 0; i < DEVICE_IDENTITY_SHORT_UID_SIZE; i++) {
		short_uid[i] = (uint8_t)(hash >> ((DEVICE_IDENTITY_SHORT_UID_SIZE - 1U - i) * 8U));
	}
}

static void format_hex(const uint8_t *bytes, size_t len, char *out, size_t out_len)
{
	static const char hex[] = "0123456789abcdef";

	if (out_len < (len * 2U + 1U)) {
		return;
	}

	for (size_t i = 0; i < len; i++) {
		out[i * 2U] = hex[bytes[i] >> 4];
		out[i * 2U + 1U] = hex[bytes[i] & 0x0f];
	}

	out[len * 2U] = '\0';
}

static void load_identity_text(const char *key, const char *fallback, char *buf,
			       size_t len)
{
	int rc = -ENOENT;

#ifdef CONFIG_ENABLE_DEVICE_PARAM_STORE
	rc = device_param_store_get(key, buf, len);
#endif
	if (rc != 0) {
		snprintk(buf, len, "%s", fallback);
	}
}

static int build_identity(void)
{
	uint8_t stm32_uid[STM32_UID_MAX_SIZE] = { 0 };
	ssize_t uid_len;
	uint64_t hash;

	uid_len = hwinfo_get_device_id(stm32_uid, sizeof(stm32_uid));
	if (uid_len <= 0) {
		LOG_ERR("Failed to read STM32 device UID: %d", (int)uid_len);
		return uid_len == 0 ? -ENODATA : (int)uid_len;
	}

	hash = fnv1a64(stm32_uid, (size_t)uid_len);
	short_uid_from_hash(hash, identity.short_uid);

	identity.mac[0] = 0x02;
	memcpy(&identity.mac[1], identity.short_uid, sizeof(identity.short_uid));

	format_hex(identity.short_uid, sizeof(identity.short_uid),
		   identity.short_uid_hex, sizeof(identity.short_uid_hex));
	format_hex(&identity.short_uid[DEVICE_IDENTITY_SHORT_UID_SIZE -
				       DEVICE_IDENTITY_NAME_UID_SIZE],
		   DEVICE_IDENTITY_NAME_UID_SIZE, identity.name_uid_hex,
		   sizeof(identity.name_uid_hex));

	snprintk(identity.company, sizeof(identity.company), "%s",
		 DEVICE_IDENTITY_COMPANY);
	load_identity_text("device/project", DEVICE_IDENTITY_DEFAULT_PROJECT,
			   identity.project, sizeof(identity.project));
	load_identity_text("device/type", DEVICE_IDENTITY_DEFAULT_DEVICE_TYPE,
			   identity.device_type, sizeof(identity.device_type));

	snprintk(identity.hostname, sizeof(identity.hostname), "%s-%s-%s-%s",
		 identity.company, identity.project, identity.device_type,
		 identity.name_uid_hex);
	snprintk(identity.mdns_name, sizeof(identity.mdns_name), "%s.local",
		 identity.hostname);
	snprintk(identity.mqtt_client_id, sizeof(identity.mqtt_client_id), "%s",
		 identity.hostname);

	return 0;
}

static int apply_hostname(void)
{
	int rc;

	rc = net_hostname_set(identity.hostname, strlen(identity.hostname));
	if (rc != 0) {
		LOG_ERR("Failed to set hostname %s: %d", identity.hostname, rc);
		return rc;
	}

	return 0;
}

static int apply_ethernet_mac(void)
{
	struct net_if *iface = net_if_get_default();
	const struct device *dev;
	const struct ethernet_api *eth;
	struct ethernet_config config = { 0 };
	int rc;

	if (iface == NULL) {
		return -ENODEV;
	}

	dev = net_if_get_device(iface);
	if (dev == NULL || dev->api == NULL) {
		return -ENODEV;
	}

	eth = (const struct ethernet_api *)dev->api;
	if (eth->set_config == NULL) {
		return -ENOTSUP;
	}

	memcpy(config.mac_address.addr, identity.mac, sizeof(identity.mac));

	rc = eth->set_config(dev, ETHERNET_CONFIG_TYPE_MAC_ADDRESS, &config);
	if (rc != 0) {
		LOG_ERR("Failed to set Ethernet MAC address: %d", rc);
		return rc;
	}

	rc = net_if_set_link_addr(iface, identity.mac, sizeof(identity.mac),
				  NET_LINK_ETHERNET);
	if (rc != 0) {
		LOG_ERR("Failed to set interface link address: %d", rc);
		return rc;
	}

	return 0;
}

int device_identity_service_init(void)
{
	int rc;

	if (identity_ready) {
		return 0;
	}

	rc = build_identity();
	if (rc != 0) {
		return rc;
	}

	rc = apply_hostname();
	if (rc != 0) {
		return rc;
	}

	rc = apply_ethernet_mac();
	if (rc != 0) {
		return rc;
	}

	identity_ready = true;

	LOG_INF("Device identity: hostname=%s mdns=%s mqtt_client_id=%s mac=%02x:%02x:%02x:%02x:%02x:%02x",
		identity.hostname, identity.mdns_name, identity.mqtt_client_id,
		identity.mac[0], identity.mac[1], identity.mac[2],
		identity.mac[3], identity.mac[4], identity.mac[5]);

	return 0;
}

const struct device_identity *device_identity_get(void)
{
	return identity_ready ? &identity : NULL;
}

const uint8_t *device_identity_mac_get(void)
{
	return identity.mac;
}

const char *device_identity_short_uid_get(void)
{
	return identity.short_uid_hex;
}

const char *device_identity_company_get(void)
{
	return identity.company;
}

const char *device_identity_project_get(void)
{
	return identity.project;
}

const char *device_identity_device_type_get(void)
{
	return identity.device_type;
}

const char *device_identity_hostname_get(void)
{
	return identity.hostname;
}

const char *device_identity_mdns_name_get(void)
{
	return identity.mdns_name;
}

const char *device_identity_mqtt_client_id_get(void)
{
	return identity.mqtt_client_id;
}
```

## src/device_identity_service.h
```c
#ifndef DEVICE_IDENTITY_SERVICE_H
#define DEVICE_IDENTITY_SERVICE_H

#include <stdint.h>

#define DEVICE_IDENTITY_MAC_SIZE 6
#define DEVICE_IDENTITY_SHORT_UID_SIZE 5
#define DEVICE_IDENTITY_NAME_UID_SIZE 2
#define DEVICE_IDENTITY_HOSTNAME_SIZE 64
#define DEVICE_IDENTITY_MDNS_NAME_SIZE (DEVICE_IDENTITY_HOSTNAME_SIZE + sizeof(".local"))
#define DEVICE_IDENTITY_MQTT_CLIENT_ID_SIZE 64

struct device_identity {
	uint8_t mac[DEVICE_IDENTITY_MAC_SIZE];
	uint8_t short_uid[DEVICE_IDENTITY_SHORT_UID_SIZE];
	char short_uid_hex[DEVICE_IDENTITY_SHORT_UID_SIZE * 2 + 1];
	char name_uid_hex[DEVICE_IDENTITY_NAME_UID_SIZE * 2 + 1];
	char company[8];
	char project[24];
	char device_type[16];
	char hostname[DEVICE_IDENTITY_HOSTNAME_SIZE];
	char mdns_name[DEVICE_IDENTITY_MDNS_NAME_SIZE];
	char mqtt_client_id[DEVICE_IDENTITY_MQTT_CLIENT_ID_SIZE];
};

int device_identity_service_init(void);

const struct device_identity *device_identity_get(void);
const uint8_t *device_identity_mac_get(void);
const char *device_identity_short_uid_get(void);
const char *device_identity_company_get(void);
const char *device_identity_project_get(void);
const char *device_identity_device_type_get(void);
const char *device_identity_hostname_get(void);
const char *device_identity_mdns_name_get(void);
const char *device_identity_mqtt_client_id_get(void);

#endif /* DEVICE_IDENTITY_SERVICE_H */
```

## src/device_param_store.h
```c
#ifndef DEVICE_PARAM_STORE_H_
#define DEVICE_PARAM_STORE_H_

#include <stdbool.h>
#include <stddef.h>

enum device_param_type {
	DEVICE_PARAM_TYPE_STRING,
	DEVICE_PARAM_TYPE_INT,
	DEVICE_PARAM_TYPE_ENUM,
};

struct device_param_record {
	const char *key;
	enum device_param_type type;
	const char *value;
	const char *default_value;
	const char *range;
	bool dirty;
	bool loaded_from_settings;
	int last_error;
};

struct device_param_store_status {
	bool initialized;
	bool settings_ready;
	bool dirty;
	size_t param_count;
	int load_count;
	int save_count;
	int fail_count;
	int last_error;
};

int device_param_store_init(void);
void device_param_store_get_status(struct device_param_store_status *status);
size_t device_param_store_count(void);
const struct device_param_record *device_param_store_get_by_index(size_t index);
const struct device_param_record *device_param_store_find(const char *key);
int device_param_store_get(const char *key, char *buf, size_t len);
int device_param_store_set(const char *key, const char *value);
int device_param_store_save(void);
int device_param_store_factory_reset(void);
int device_param_store_format_status(char *buf, size_t len);
int device_param_store_format_all(char *buf, size_t len);

#endif /* DEVICE_PARAM_STORE_H_ */
```

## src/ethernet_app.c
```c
#include <zephyr/kernel.h>
#include <zephyr/logging/log.h>
#include <zephyr/net/net_if.h>
#include <zephyr/net/net_ip.h>
#include <zephyr/net/net_mgmt.h>

LOG_MODULE_REGISTER(ethernet_app, LOG_LEVEL_INF);

#define ETHERNET_APP_STACK_SIZE 1536
#define ETHERNET_APP_PRIORITY 7
#define ETHERNET_APP_STATIC_IP "192.168.18.32"
#define ETHERNET_APP_NETMASK "255.255.255.0"

static bool print_ipv4_addr(struct net_if *iface)
{
	bool found = false;

	for (int i = 0; i < NET_IF_MAX_IPV4_ADDR; i++) {
		char addr[NET_IPV4_ADDR_LEN];
		char netmask[NET_IPV4_ADDR_LEN];
		char gw[NET_IPV4_ADDR_LEN];
		struct net_if_ipv4 *ipv4 = iface->config.ip.ipv4;

		if (ipv4->unicast[i].ipv4.addr_type != NET_ADDR_MANUAL) {
			continue;
		}

		LOG_INF("Ethernet IPv4 address: %s",
			net_addr_ntop(AF_INET, &ipv4->unicast[i].ipv4.address.in_addr,
				      addr, sizeof(addr)));
		LOG_INF("Ethernet IPv4 netmask: %s",
			net_addr_ntop(AF_INET, &ipv4->unicast[i].netmask,
				      netmask, sizeof(netmask)));
		LOG_INF("Ethernet IPv4 gateway: %s",
			net_addr_ntop(AF_INET, &ipv4->gw, gw, sizeof(gw)));
		found = true;
	}

	return found;
}

static int configure_static_ipv4(struct net_if *iface)
{
	struct net_in_addr addr;
	struct net_in_addr netmask;

	if (net_addr_pton(AF_INET, ETHERNET_APP_STATIC_IP, &addr) < 0) {
		LOG_ERR("Invalid static IPv4 address: %s", ETHERNET_APP_STATIC_IP);
		return -EINVAL;
	}

	if (net_addr_pton(AF_INET, ETHERNET_APP_NETMASK, &netmask) < 0) {
		LOG_ERR("Invalid static IPv4 netmask: %s", ETHERNET_APP_NETMASK);
		return -EINVAL;
	}

	if (net_if_ipv4_addr_add(iface, &addr, NET_ADDR_MANUAL, 0) == NULL) {
		LOG_ERR("Failed to add static IPv4 address %s", ETHERNET_APP_STATIC_IP);
		return -EIO;
	}

	if (!net_if_ipv4_set_netmask_by_addr(iface, &addr, &netmask)) {
		LOG_ERR("Failed to set static IPv4 netmask %s", ETHERNET_APP_NETMASK);
		return -EIO;
	}

	return 0;
}

static void ethernet_app_thread(void)
{
	struct net_if *iface;
	iface = net_if_get_default();
	if (iface == NULL) {
		LOG_ERR("No default network interface");
		return;
	}

	(void)configure_static_ipv4(iface);
	(void)print_ipv4_addr(iface);
}

K_THREAD_DEFINE(ethernet_app_tid, ETHERNET_APP_STACK_SIZE,
		ethernet_app_thread, NULL, NULL, NULL,
		ETHERNET_APP_PRIORITY, 0, 0);
```

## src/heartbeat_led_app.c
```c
#include <zephyr/device.h>
#include <zephyr/drivers/gpio.h>
#include <zephyr/kernel.h>
#include <zephyr/logging/log.h>

LOG_MODULE_REGISTER(heartbeat_led_app, LOG_LEVEL_INF);

#define HEARTBEAT_LED_NODE DT_ALIAS(heartbeat_led)

BUILD_ASSERT(DT_NODE_HAS_STATUS(HEARTBEAT_LED_NODE, okay),
	     "Missing heartbeat-led alias");

#define HEARTBEAT_LED_STACK_SIZE 512
#define HEARTBEAT_LED_PRIORITY 7
#define HEARTBEAT_LED_ON_TIME_MS 1000
#define HEARTBEAT_LED_OFF_TIME_MS 1000

static const struct gpio_dt_spec heartbeat_led =
	GPIO_DT_SPEC_GET(HEARTBEAT_LED_NODE, gpios);

static void heartbeat_led_thread(void *p1, void *p2, void *p3)
{
	int err;

	ARG_UNUSED(p1);
	ARG_UNUSED(p2);
	ARG_UNUSED(p3);

	if (!gpio_is_ready_dt(&heartbeat_led)) {
		LOG_ERR("Heartbeat LED GPIO controller is not ready");
		return;
	}

	err = gpio_pin_configure_dt(&heartbeat_led, GPIO_OUTPUT_INACTIVE);
	if (err != 0) {
		LOG_ERR("Failed to configure heartbeat LED: %d", err);
		return;
	}

	LOG_INF("Heartbeat LED started on PD10, 1s on / 1s off");

	while (1) {
		gpio_pin_set_dt(&heartbeat_led, 1);
		k_sleep(K_MSEC(HEARTBEAT_LED_ON_TIME_MS));

		gpio_pin_set_dt(&heartbeat_led, 0);
		k_sleep(K_MSEC(HEARTBEAT_LED_OFF_TIME_MS));
	}
}

K_THREAD_DEFINE(heartbeat_led_tid, HEARTBEAT_LED_STACK_SIZE,
		heartbeat_led_thread, NULL, NULL, NULL,
		HEARTBEAT_LED_PRIORITY, 0, 0);
```

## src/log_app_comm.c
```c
#include <zephyr/kernel.h>
#include <zephyr/logging/log.h>

#define LOG_APP_COMM_STACK_SIZE 1024
#define LOG_APP_COMM_PRIORITY 5
#define LOG_APP_COMM_PERIOD K_MSEC(5000)

LOG_MODULE_REGISTER(comm, LOG_LEVEL_DBG);

static void log_app_comm_thread(void)
{
	while (1) {
		LOG_ERR("comm error sample");
		LOG_WRN("comm warning sample");
		LOG_INF("comm info sample");
		LOG_DBG("comm debug sample");
		k_sleep(LOG_APP_COMM_PERIOD);
	}
}

// K_THREAD_DEFINE(log_app_comm_tid, LOG_APP_COMM_STACK_SIZE, log_app_comm_thread,
// 		NULL, NULL, NULL, LOG_APP_COMM_PRIORITY, 0, 0);
```
